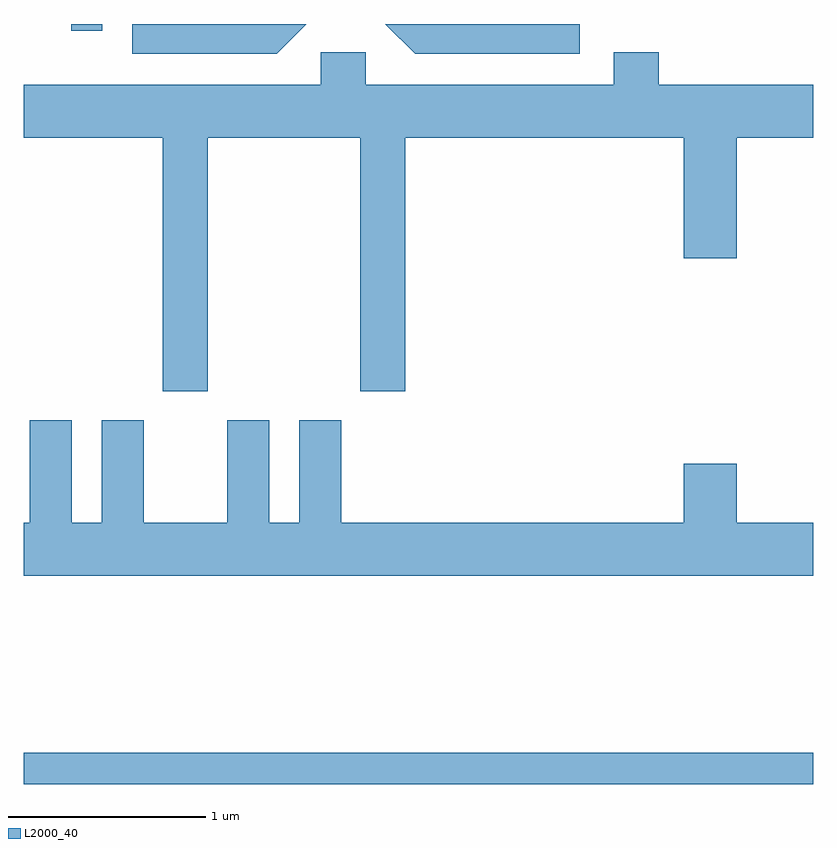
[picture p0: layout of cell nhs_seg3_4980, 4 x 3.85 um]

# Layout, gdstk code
import gdstk
lib = gdstk.Library(unit=1e-6, precision=1e-09)
def R(c, l, rs):  # rectangles x0, y0, x1, y1
    for r in rs: c.add(gdstk.rectangle(r[:2], r[2:], *l))
def P(c, l, *ps):  # polygons
    for p in ps: c.add(gdstk.Polygon(p, *l))
L2000_40 = (2000, 40)

nhs_seg3_4980 = lib.new_cell('nhs_seg3_4980')
R(nhs_seg3_4980, L2000_40, [(331.611,1156.041,335.611,1156.199), (331.851,1159.858,332.009,1159.892)])
P(nhs_seg3_4980, L2000_40, [(333.043,1159.892),(332.161,1159.892),(332.161,1159.741),(332.892,1159.741)],
  [(334.429,1159.892),(333.443,1159.892),(333.594,1159.741),(334.429,1159.741)],
  [(332.544,1159.316),(333.316,1159.316),(333.316,1158.031),(333.544,1158.031),(333.544,1159.316),(334.956,1159.316),(334.956,1158.706),(335.224,1158.706),(335.224,1159.316),(335.611,1159.316),(335.611,1159.584),(334.829,1159.584),(334.829,1159.749),(334.601,1159.749),(334.601,1159.584),(333.344,1159.584),(333.344,1159.749),(333.116,1159.749),(333.116,1159.584),(331.611,1159.584),(331.611,1159.316),(332.316,1159.316),(332.316,1158.031),(332.544,1158.031)],
  [(335.611,1157.364),(335.224,1157.364),(335.224,1157.664),(334.956,1157.664),(334.956,1157.364),(333.219,1157.364),(333.219,1157.884),(333.006,1157.884),(333.006,1157.364),(332.854,1157.364),(332.854,1157.884),(332.641,1157.884),(332.641,1157.364),(332.219,1157.364),(332.219,1157.884),(332.006,1157.884),(332.006,1157.364),(331.854,1157.364),(331.854,1157.884),(331.641,1157.884),(331.641,1157.364),(331.611,1157.364),(331.611,1157.096),(335.611,1157.096)])

lib.write_gds('nhs_seg3_4980.gds')
